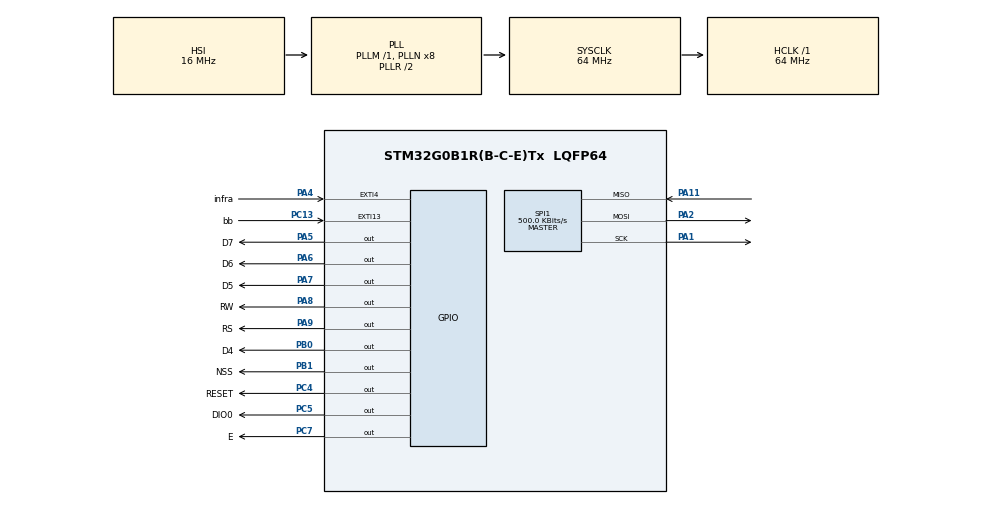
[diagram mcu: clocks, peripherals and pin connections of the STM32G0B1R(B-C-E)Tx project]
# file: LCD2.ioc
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Mcu.Family=STM32G0
Mcu.Name=STM32G0B1R(B-C-E)Tx
Mcu.Package=LQFP64
NVIC.EXTI4_15_IRQn=true\:0\:0\:false\:false\:true\:true\:true
NVIC.TIM2_IRQn=true\:0\:0\:false\:false\:true\:true\:true
PA1.Mode=Full_Duplex_Master
PA1.Signal=SPI1_SCK
PA11\ [PA9].Mode=Full_Duplex_Master
PA11\ [PA9].Signal=SPI1_MISO
PA13.Mode=Serial_Wire
PA13.Signal=SYS_SWDIO
PA14-BOOT0.Mode=Serial_Wire
PA14-BOOT0.Signal=SYS_SWCLK
PA2.Mode=Full_Duplex_Master
PA2.Signal=SPI1_MOSI
PA4.GPIO_Label=infra
PA4.GPIO_ModeDefaultEXTI=GPIO_MODE_IT_RISING_FALLING
PA4.Signal=GPXTI4
PA5.GPIO_Label=D7
PA5.Signal=GPIO_Output
PA6.GPIO_Label=D6
PA6.Signal=GPIO_Output
PA7.GPIO_Label=D5
PA7.Signal=GPIO_Output
PA8.GPIO_Label=RW
PA8.Signal=GPIO_Output
PA9.GPIO_Label=RS
PA9.Signal=GPIO_Output
PB0.GPIO_Label=D4
PB0.Signal=GPIO_Output
PB1.GPIO_Label=NSS
PB1.PinState=GPIO_PIN_SET
PB1.Signal=GPIO_Output
PC13.GPIO_Label=bb
PC13.Signal=GPXTI13
PC4.GPIO_Label=RESET
PC4.Signal=GPIO_Output
PC5.GPIO_Label=DIO0
PC5.Signal=GPIO_Output
PC7.GPIO_Label=E
PC7.Signal=GPIO_Output
PF0-OSC_IN\ (PF0).Mode=HSE-External-Oscillator
PF0-OSC_IN\ (PF0).Signal=RCC_OSC_IN
PF1-OSC_OUT\ (PF1).Mode=HSE-External-Oscillator
PF1-OSC_OUT\ (PF1).Signal=RCC_OSC_OUT
ProjectManager.HeapSize=0x200
ProjectManager.StackSize=0x400
ProjectManager.TargetToolchain=STM32CubeIDE
RCC.ADCFreq_Value=64000000
RCC.AHBFreq_Value=64000000
RCC.CortexFreq_Value=64000000
RCC.EXTERNAL_CLOCK_VALUE=48000
RCC.HCLKFreq_Value=64000000
RCC.HSE_VALUE=8000000
RCC.HSI48_VALUE=48000000
RCC.HSI_VALUE=16000000
RCC.LSE_VALUE=32768
RCC.SYSCLKFreq_VALUE=64000000
RCC.SYSCLKSource=RCC_SYSCLKSOURCE_PLLCLK
RCC.USBFreq_Value=48000000
RCC.VCOOutputFreq_Value=128000000
SPI1.BaudRatePrescaler=SPI_BAUDRATEPRESCALER_128
SPI1.CalculateBaudRate=500.0 KBits/s
SPI1.Direction=SPI_DIRECTION_2LINES
SPI1.Mode=SPI_MODE_MASTER
SPI1.VirtualType=VM_MASTER
TIM1.Period=0xffff-1
TIM1.Prescaler=64-1
TIM2.Period=999
TIM2.Prescaler=639
VP_SYS_VS_DBSignals.Mode=DisableDeadBatterySignals
VP_TIM1_VS_ClockSourceINT.Mode=Internal
VP_TIM2_VS_ClockSourceINT.Mode=Internal
board=custom

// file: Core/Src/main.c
/* USER CODE BEGIN Header */
/**
  ******************************************************************************
  * @file           : main.c
  * @brief          : Main program body
  ******************************************************************************
  * @attention
  *
  * Copyright (c) 2022 STMicroelectronics.
  * All rights reserved.
  *
  * This software is licensed under terms that can be found in the LICENSE file
  * in the root directory of this software component.
  * If no LICENSE file comes with this software, it is provided AS-IS.
  *
  ******************************************************************************
  */
/* USER CODE END Header */
#include "main.h"

/* USER CODE BEGIN Includes */
#include <stdint.h>
#include <string.h>
#include <stdio.h>

#include "LoRa.h"
#include "lcd20x4.h"
/* USER CODE END Includes */

SPI_HandleTypeDef hspi1;

TIM_HandleTypeDef htim1;
TIM_HandleTypeDef htim2;

/* USER CODE BEGIN PV */

//Lora
LoRa myLoRa;
uint32_t packet_size =0;
uint8_t received_data=0;
uint16_t teste;
uint8_t flag=0, verificacao=0;
uint16_t flagDILSON=0;
uint8_t meuTexto[21];

//lcd
uint16_t app;
uint16_t app_t, a;

//infravermelho:

typedef enum{
		DESLIGADO,
		BOTAO_1,
		BOTAO_2,
		BOTAO_3,
		BOTAO_4,
		BOTAO_5,
		BOTAO_6,
		BOTAO_7,
		BOTAO_8,
		BOTAO_9,
		OK,
		SETA_BAIXO,
		SETA_ESQUERDA,
		SETA_CIMA,
		SETA_DIREITA,
		ASTERISCO,
		HASHTAG
} botoes_e;

botoes_e recebeu;

uint32_t data, contagem;
uint8_t recebeu, cont=0;

/* USER CODE END PV */

void SystemClock_Config(void);
static void MX_GPIO_Init(void);
static void MX_TIM1_Init(void);
static void MX_SPI1_Init(void);
static void MX_TIM2_Init(void);

/* USER CODE BEGIN 0 */
void HAL_GPIO_EXTI_Falling_Callback(uint16_t GPIO_Pin){
	flagDILSON=1;

}
void __init_application(){
	  memset(&app, 0, sizeof(app_t));

	  HAL_TIM_Base_Start(&htim1);

	  lcd_attr_gpio(RS, RS_GPIO_Port, RS_Pin);
	  lcd_attr_gpio(RW, RW_GPIO_Port, RW_Pin);
	  lcd_attr_gpio(E, E_GPIO_Port, E_Pin);

	  lcd_attr_gpio(D4, D4_GPIO_Port, D4_Pin);
	  lcd_attr_gpio(D5, D5_GPIO_Port, D5_Pin);
	  lcd_attr_gpio(D6, D6_GPIO_Port, D6_Pin);
	  lcd_attr_gpio(D7, D7_GPIO_Port, D7_Pin);

	  lcd_init();
	  lcd_clear();

	  lcd_put_cur(3, 12);
	  lcd_send_string("PADOLABS");
	  HAL_Delay(1000);
}

void delay_us  ( uint16_t us)
{
	__HAL_TIM_SET_COUNTER(&htim1, 0 );   // define o valor do contador como 0
	while  (__HAL_TIM_GET_COUNTER(&htim1)  <  us);   // espera o contador alcançar a entrada us no parâmetro
}

uint32_t recebendo_data()
{
	uint32_t teste;
	//HAL_TIM_Base_Stop_IT(&htim2);
	while((HAL_GPIO_ReadPin(infra_GPIO_Port, infra_Pin))==0);
	while(HAL_GPIO_ReadPin(infra_GPIO_Port, infra_Pin)==1);

	 for(int i = 0; i < 32; i++)
		 {
			 while((HAL_GPIO_ReadPin(infra_GPIO_Port, infra_Pin))==0);
			 contagem=0;
			 while(HAL_GPIO_ReadPin(infra_GPIO_Port, infra_Pin)==1)
			 {
			 contagem++;
			 if(contagem>=200)
				 {
					 //HAL_TIM_Base_Start_IT(&htim2);
					 //flag=0;
					 return(0);
				 }
			 delay_us(100);
			 }

			 if(contagem > 12)
			 {
				 teste |= (1UL << (31-i));
			 }

			else
			{
				teste &= ~ (1UL << (31-i));
			}
		 }
	 return teste;
}

void convert_code (uint32_t code)
{
	switch (code)
	{
		case (0x807fa55a):
			recebeu = DESLIGADO;

			break;

		case (0x807fb44b):
			recebeu = BOTAO_1;
			sprintf((char*)meuTexto,"Sentido: horario    ");
			lcd_put_cur(2,0);
			lcd_send_string(meuTexto);
			break;

		case (0x807fcc33):
			recebeu = BOTAO_2;
			sprintf((char*)meuTexto,"Sentido: antihorario   ");
			lcd_put_cur(2,0);
			lcd_send_string(meuTexto);
			break;

		case (0x807fd827):
			recebeu = BOTAO_3;
			sprintf((char*)meuTexto,"Sentido: antihorario   ");
			lcd_put_cur(2,0);
			lcd_send_string(meuTexto);
			break;

		case (0x807f9867):
			recebeu = BOTAO_4;
			sprintf((char*)meuTexto,"Sentido: horario    ");
			lcd_put_cur(2,0);
			lcd_send_string(meuTexto);
			break;

		case (0x807f8c73):
			recebeu = BOTAO_5;
			sprintf((char*)meuTexto,"Sentido: horario    ");
			lcd_put_cur(2,0);
			lcd_send_string(meuTexto);
			break;

		case (0x807fbd42):
			recebeu = BOTAO_6;
			sprintf((char*)meuTexto,"Sentido: antihorario   ");
			lcd_put_cur(2,0);
			lcd_send_string(meuTexto);
			break;

		case (0x807f8877):
			recebeu = BOTAO_7;
			sprintf((char*)meuTexto,"Sentido: antihorario   ");
			lcd_put_cur(2,0);
			lcd_send_string(meuTexto);
			break;

		case (0x807f9c63):
			recebeu = BOTAO_8;
			sprintf((char*)meuTexto,"Sentido: antihorario   ");
			lcd_put_cur(2,0);
			lcd_send_string(meuTexto);
			break;

		case (0x807fad52):
			recebeu = BOTAO_9;
			sprintf((char*)meuTexto,"Sentido: horario    ");
			lcd_put_cur(2,0);
			lcd_send_string(meuTexto);
			break;

		case (0x807f817e):
			recebeu = OK;
			cont++;

			if(cont>1)
			{
				cont=0;
			}
			break;

		case (0x807fd42b):
			recebeu = SETA_BAIXO;
			break;

		case (0x807f916e):
			recebeu = SETA_ESQUERDA;
			sprintf((char*)meuTexto,"Sentido: horario    ");
			lcd_put_cur(2,0);
			lcd_send_string(meuTexto);
			break;

		case (0x807fb14e):
			recebeu = SETA_CIMA;
			sprintf((char*)meuTexto,"Sentido: horario    ");
			lcd_put_cur(2,0);
			lcd_send_string(meuTexto);
			break;

		case (0x807fe11e):
			recebeu = SETA_DIREITA;
			sprintf((char*)meuTexto,"Sentido: antihorario   ");
			lcd_put_cur(2,0);
			lcd_send_string(meuTexto);
			break;

		case (0x807fa15e):
			recebeu = ASTERISCO;
			sprintf((char*)meuTexto,"Sentido: parado   ");
			lcd_put_cur(2,0);
			lcd_send_string(meuTexto);
			break;

		case (0x807fa956):
			recebeu = HASHTAG;
			break;

		default :
			break;
		}

	verificacao=recebeu;
	LoRa_transmit(&myLoRa, &verificacao, 1 , 100);
	verificacao=0;

}

/* USER CODE END 0 */

int main(void)
{

  /* MCU Configuration--------------------------------------------------------*/

  /* Reset of all peripherals, Initializes the Flash interface and the Systick. */
  HAL_Init();

  /* Configure the system clock */
  SystemClock_Config();

  /* Initialize all configured peripherals */
  MX_GPIO_Init();
  MX_TIM1_Init();
  MX_SPI1_Init();
  MX_TIM2_Init();
  /* USER CODE BEGIN 2 */
  __init_application();
  HAL_TIM_Base_Start_IT(&htim2);
  HAL_TIM_Base_Start(&htim1);

	  	myLoRa = newLoRa();

		myLoRa.hSPIx                 = &hspi1;
		myLoRa.CS_port               = NSS_GPIO_Port;
		myLoRa.CS_pin                = NSS_Pin;
		myLoRa.reset_port            = RESET_GPIO_Port;
		myLoRa.reset_pin             = RESET_Pin;
		myLoRa.DIO0_port						 = DIO0_GPIO_Port;
		myLoRa.DIO0_pin							 = DIO0_Pin;

		myLoRa.frequency             = 433;							  // default = 433 MHz
		myLoRa.spredingFactor        = SF_7;							// default = SF_7
		myLoRa.bandWidth			       = BW_125KHz;				  // default = BW_125KHz
		myLoRa.crcRate				       = CR_4_5;						// default = CR_4_5
		myLoRa.power					       = POWER_20db;				// default = 20db
		myLoRa.overCurrentProtection = 120; 							// default = 100 mA
		myLoRa.preamble				       = 10;		  					// default = 8;

		teste=LoRa_init(&myLoRa);

		LoRa_startReceiving(&myLoRa);
  /* USER CODE END 2 */

  /* Infinite loop */
  /* USER CODE BEGIN WHILE */
 	while (1)
 	{
		  if(flagDILSON==1)
		  {
			  flagDILSON=0;
			  HAL_NVIC_DisableIRQ(EXTI4_15_IRQn);
			  data = recebendo_data ();
			  convert_code (data);
			  HAL_NVIC_EnableIRQ(EXTI4_15_IRQn);
		  }

		  //HAL_NVIC_DisableIRQ(EXTI4_15_IRQn);

		  /*HAL_Delay(150);
		  packet_size = LoRa_receive(&myLoRa, &received_data, 1);*/

		  //HAL_NVIC_EnableIRQ(EXTI4_15_IRQn);

		  /*if(packet_size!=0)
			{
				  sprintf((char*)meuTexto,"Corrente: %d mA   ", received_data);
				  lcd_put_cur(1,0);
				  lcd_send_string(meuTexto);
			}*/

			if(cont == 0)
			{
				sprintf((char*)meuTexto,"Desligado");
				lcd_put_cur(0,0);
				lcd_send_string(meuTexto);
				cont=0;
			}

			else
			{
				sprintf((char*)meuTexto,"Ligado   ");
				lcd_put_cur(0,0);
				lcd_send_string(meuTexto);
			}

    /* USER CODE END WHILE */

  }
}

void SystemClock_Config(void)
{
  RCC_OscInitTypeDef RCC_OscInitStruct = {0};
  RCC_ClkInitTypeDef RCC_ClkInitStruct = {0};

  /** Configure the main internal regulator output voltage
  */
  HAL_PWREx_ControlVoltageScaling(PWR_REGULATOR_VOLTAGE_SCALE1);
  /** Initializes the RCC Oscillators according to the specified parameters
  * in the RCC_OscInitTypeDef structure.
  */
  RCC_OscInitStruct.OscillatorType = RCC_OSCILLATORTYPE_HSI;
  RCC_OscInitStruct.HSIState = RCC_HSI_ON;
  RCC_OscInitStruct.HSIDiv = RCC_HSI_DIV1;
  RCC_OscInitStruct.HSICalibrationValue = RCC_HSICALIBRATION_DEFAULT;
  RCC_OscInitStruct.PLL.PLLState = RCC_PLL_ON;
  RCC_OscInitStruct.PLL.PLLSource = RCC_PLLSOURCE_HSI;
  RCC_OscInitStruct.PLL.PLLM = RCC_PLLM_DIV1;
  RCC_OscInitStruct.PLL.PLLN = 8;
  RCC_OscInitStruct.PLL.PLLP = RCC_PLLP_DIV2;
  RCC_OscInitStruct.PLL.PLLQ = RCC_PLLQ_DIV2;
  RCC_OscInitStruct.PLL.PLLR = RCC_PLLR_DIV2;
  if (HAL_RCC_OscConfig(&RCC_OscInitStruct) != HAL_OK)
  {
    Error_Handler();
  }
  /** Initializes the CPU, AHB and APB buses clocks
  */
  RCC_ClkInitStruct.ClockType = RCC_CLOCKTYPE_HCLK|RCC_CLOCKTYPE_SYSCLK
                              |RCC_CLOCKTYPE_PCLK1;
  RCC_ClkInitStruct.SYSCLKSource = RCC_SYSCLKSOURCE_PLLCLK;
  RCC_ClkInitStruct.AHBCLKDivider = RCC_SYSCLK_DIV1;
  RCC_ClkInitStruct.APB1CLKDivider = RCC_HCLK_DIV1;

  if (HAL_RCC_ClockConfig(&RCC_ClkInitStruct, FLASH_LATENCY_2) != HAL_OK)
  {
    Error_Handler();
  }
}

static void MX_SPI1_Init(void)
{

  /* SPI1 parameter configuration*/
  hspi1.Instance = SPI1;
  hspi1.Init.Mode = SPI_MODE_MASTER;
  hspi1.Init.Direction = SPI_DIRECTION_2LINES;
  hspi1.Init.DataSize = SPI_DATASIZE_8BIT;
  hspi1.Init.CLKPolarity = SPI_POLARITY_LOW;
  hspi1.Init.CLKPhase = SPI_PHASE_1EDGE;
  hspi1.Init.NSS = SPI_NSS_SOFT;
  hspi1.Init.BaudRatePrescaler = SPI_BAUDRATEPRESCALER_128;
  hspi1.Init.FirstBit = SPI_FIRSTBIT_MSB;
  hspi1.Init.TIMode = SPI_TIMODE_DISABLE;
  hspi1.Init.CRCCalculation = SPI_CRCCALCULATION_DISABLE;
  hspi1.Init.CRCPolynomial = 7;
  hspi1.Init.CRCLength = SPI_CRC_LENGTH_DATASIZE;
  hspi1.Init.NSSPMode = SPI_NSS_PULSE_ENABLE;
  if (HAL_SPI_Init(&hspi1) != HAL_OK)
  {
    Error_Handler();
  }

}

static void MX_TIM1_Init(void)
{

  TIM_ClockConfigTypeDef sClockSourceConfig = {0};
  TIM_MasterConfigTypeDef sMasterConfig = {0};

  htim1.Instance = TIM1;
  htim1.Init.Prescaler = 64-1;
  htim1.Init.CounterMode = TIM_COUNTERMODE_UP;
  htim1.Init.Period = 0xffff-1;
  htim1.Init.ClockDivision = TIM_CLOCKDIVISION_DIV1;
  htim1.Init.RepetitionCounter = 0;
  htim1.Init.AutoReloadPreload = TIM_AUTORELOAD_PRELOAD_DISABLE;
  if (HAL_TIM_Base_Init(&htim1) != HAL_OK)
  {
    Error_Handler();
  }
  sClockSourceConfig.ClockSource = TIM_CLOCKSOURCE_INTERNAL;
  if (HAL_TIM_ConfigClockSource(&htim1, &sClockSourceConfig) != HAL_OK)
  {
    Error_Handler();
  }
  sMasterConfig.MasterOutputTrigger = TIM_TRGO_RESET;
  sMasterConfig.MasterOutputTrigger2 = TIM_TRGO2_RESET;
  sMasterConfig.MasterSlaveMode = TIM_MASTERSLAVEMODE_DISABLE;
  if (HAL_TIMEx_MasterConfigSynchronization(&htim1, &sMasterConfig) != HAL_OK)
  {
    Error_Handler();
  }

}

static void MX_TIM2_Init(void)
{

  TIM_ClockConfigTypeDef sClockSourceConfig = {0};
  TIM_MasterConfigTypeDef sMasterConfig = {0};

  htim2.Instance = TIM2;
  htim2.Init.Prescaler = 639;
  htim2.Init.CounterMode = TIM_COUNTERMODE_UP;
  htim2.Init.Period = 999;
  htim2.Init.ClockDivision = TIM_CLOCKDIVISION_DIV1;
  htim2.Init.AutoReloadPreload = TIM_AUTORELOAD_PRELOAD_DISABLE;
  if (HAL_TIM_Base_Init(&htim2) != HAL_OK)
  {
    Error_Handler();
  }
  sClockSourceConfig.ClockSource = TIM_CLOCKSOURCE_INTERNAL;
  if (HAL_TIM_ConfigClockSource(&htim2, &sClockSourceConfig) != HAL_OK)
  {
    Error_Handler();
  }
  sMasterConfig.MasterOutputTrigger = TIM_TRGO_RESET;
  sMasterConfig.MasterSlaveMode = TIM_MASTERSLAVEMODE_DISABLE;
  if (HAL_TIMEx_MasterConfigSynchronization(&htim2, &sMasterConfig) != HAL_OK)
  {
    Error_Handler();
  }

}

static void MX_GPIO_Init(void)
{
  GPIO_InitTypeDef GPIO_InitStruct = {0};

  /* GPIO Ports Clock Enable */
  __HAL_RCC_GPIOC_CLK_ENABLE();
  __HAL_RCC_GPIOF_CLK_ENABLE();
  __HAL_RCC_GPIOA_CLK_ENABLE();
  __HAL_RCC_GPIOB_CLK_ENABLE();

  /*Configure GPIO pin Output Level */
  HAL_GPIO_WritePin(GPIOA, D7_Pin|D6_Pin|D5_Pin|RW_Pin
                          |RS_Pin, GPIO_PIN_RESET);

  /*Configure GPIO pin Output Level */
  HAL_GPIO_WritePin(GPIOC, RESET_Pin|DIO0_Pin|E_Pin, GPIO_PIN_RESET);

  /*Configure GPIO pin Output Level */
  HAL_GPIO_WritePin(D4_GPIO_Port, D4_Pin, GPIO_PIN_RESET);

  /*Configure GPIO pin Output Level */
  HAL_GPIO_WritePin(NSS_GPIO_Port, NSS_Pin, GPIO_PIN_SET);

  /*Configure GPIO pin : bb_Pin */
  GPIO_InitStruct.Pin = bb_Pin;
  GPIO_InitStruct.Mode = GPIO_MODE_IT_RISING;
  GPIO_InitStruct.Pull = GPIO_NOPULL;
  HAL_GPIO_Init(bb_GPIO_Port, &GPIO_InitStruct);

  /*Configure GPIO pin : infra_Pin */
  GPIO_InitStruct.Pin = infra_Pin;
  GPIO_InitStruct.Mode = GPIO_MODE_IT_RISING_FALLING;
  GPIO_InitStruct.Pull = GPIO_NOPULL;
  HAL_GPIO_Init(infra_GPIO_Port, &GPIO_InitStruct);

  /*Configure GPIO pins : D7_Pin D6_Pin D5_Pin RW_Pin
                           RS_Pin */
  GPIO_InitStruct.Pin = D7_Pin|D6_Pin|D5_Pin|RW_Pin
                          |RS_Pin;
  GPIO_InitStruct.Mode = GPIO_MODE_OUTPUT_PP;
  GPIO_InitStruct.Pull = GPIO_NOPULL;
  GPIO_InitStruct.Speed = GPIO_SPEED_FREQ_LOW;
  HAL_GPIO_Init(GPIOA, &GPIO_InitStruct);

  /*Configure GPIO pins : RESET_Pin DIO0_Pin E_Pin */
  GPIO_InitStruct.Pin = RESET_Pin|DIO0_Pin|E_Pin;
  GPIO_InitStruct.Mode = GPIO_MODE_OUTPUT_PP;
  GPIO_InitStruct.Pull = GPIO_NOPULL;
  GPIO_InitStruct.Speed = GPIO_SPEED_FREQ_LOW;
  HAL_GPIO_Init(GPIOC, &GPIO_InitStruct);

  /*Configure GPIO pins : D4_Pin NSS_Pin */
  GPIO_InitStruct.Pin = D4_Pin|NSS_Pin;
  GPIO_InitStruct.Mode = GPIO_MODE_OUTPUT_PP;
  GPIO_InitStruct.Pull = GPIO_NOPULL;
  GPIO_InitStruct.Speed = GPIO_SPEED_FREQ_LOW;
  HAL_GPIO_Init(GPIOB, &GPIO_InitStruct);

  /* EXTI interrupt init*/
  HAL_NVIC_SetPriority(EXTI4_15_IRQn, 0, 0);
  HAL_NVIC_EnableIRQ(EXTI4_15_IRQn);

}

void Error_Handler(void)
{
  __disable_irq();
  while (1)
  {
  }
}
